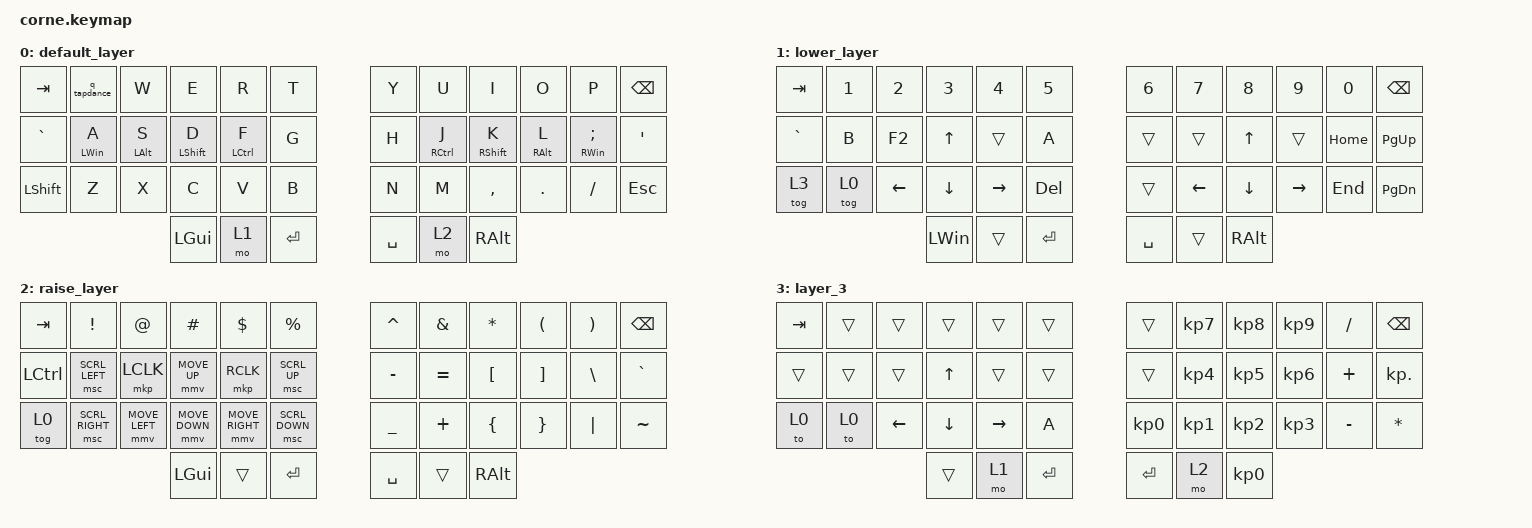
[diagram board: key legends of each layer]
/*
 * Copyright (c) 2020 The ZMK Contributors
 *
 * SPDX-License-Identifier: MIT
 */

#define ZMK_POINTING_DEFAULT_MOVE_VAL 1800
#define ZMK_POINTING_DEFAULT_SCRL_VAL 20

#include <behaviors.dtsi>
#include <dt-bindings/zmk/keys.h>
#include <dt-bindings/zmk/pointing.h>

/ {
    behaviors {
        hm: hm {
            compatible = "zmk,behavior-hold-tap";
            label = "HM";
            bindings = <&kp>, <&kp>;

            #binding-cells = <2>;
            tapping-term-ms = <400>;
            quick-tap-ms = <400>;
            require-prior-idle-ms = <400>;
            flavor = "tap-preferred";
        };

        q_tapdance: q_tapdance {
            compatible = "zmk,behavior-tap-dance";
            label = "Q_TAPDANCE";
            #binding-cells = <0>;
            bindings = <&kp Q>, <&kp DEL>;
        };

        numkey_toggle: numkey_toggle {
            compatible = "zmk,behavior-key-toggle";
            label = "NUMKEY_TOGGLE";
            #binding-cells = <1>;
            toggle-mode = "on";
        };
    };

    keymap {
        compatible = "zmk,keymap";

        default_layer {
            // -----------------------------------------------------------------------------------------
            // |  TAB |  Q  |  W  |  E  |  R  |  T  |   |  Y  |  U   |  I  |  O  |  P  | BKSP |
            // | CTRL |  A  |  S  |  D  |  F  |  G  |   |  H  |  J   |  K  |  L  |  ;  |  '   |
            // | SHFT |  Z  |  X  |  C  |  V  |  B  |   |  N  |  M   |  ,  |  .  |  /  | ESC  |
            //                    | GUI | LWR | SPC |   | ENT | RSE  | ALT |

            bindings = <
&kp TAB    &q_tapdance     &kp W           &kp E         &kp R               &kp T        &kp Y      &kp U                &kp I              &kp O            &kp P                    &kp BSPC
&kp GRAVE  &hm LEFT_WIN A  &hm LEFT_ALT S  &hm LSHIFT D  &hm LEFT_CONTROL F  &kp G        &kp H      &hm RIGHT_CONTROL J  &hm RIGHT_SHIFT K  &hm RIGHT_ALT L  &hm RIGHT_WIN SEMICOLON  &kp SQT
&kp LSHFT  &kp Z           &kp X           &kp C         &kp V               &kp B        &kp N      &kp M                &kp COMMA          &kp DOT          &kp FSLH                 &kp ESC
                                           &kp LGUI      &mo 1               &kp ENTER    &kp SPACE  &mo 2                &kp RALT
            >;
        };

        lower_layer {
            // -----------------------------------------------------------------------------------------
            // |  TAB |  1  |  2  |  3  |  4  |  5  |   |  6  |  7  |  8  |  9  |  0  | BKSP |
            // | BTCLR| BT1 | BT2 | BT3 | BT4 | BT5 |   | LFT | DWN |  UP | RGT |     |      |
            // | SHFT |     |     |     |     |     |   |     |     |     |     |     |      |
            //                    | GUI |     | SPC |   | ENT |     | ALT |

            bindings = <
&kp TAB    &kp N1  &kp N2    &kp N3        &kp N4     &kp N5       &kp N6     &kp N7    &kp N8    &kp N9     &kp N0    &kp BSPC
&kp GRAVE  &kp B   &kp F2    &kp UP        &trans     &kp A        &trans     &trans    &kp UP    &trans     &kp HOME  &kp PG_UP
&tog 3     &tog 0  &kp LEFT  &kp DOWN      &kp RIGHT  &kp DEL      &trans     &kp LEFT  &kp DOWN  &kp RIGHT  &kp END   &kp PG_DN
                             &kp LEFT_WIN  &trans     &kp ENTER    &kp SPACE  &trans    &kp RALT
            >;
        };

        raise_layer {
            // -----------------------------------------------------------------------------------------
            // |  TAB |  !  |  @  |  #  |  $  |  %  |   |  ^  |  &  |  *  |  (  |  )  | BKSP |
            // | CTRL |     |     |     |     |     |   |  -  |  =  |  [  |  ]  |  \  |  `   |
            // | SHFT |     |     |     |     |     |   |  _  |  +  |  {  |  }  | "|" |  ~   |
            //                    | GUI |     | SPC |   | ENT |     | ALT |

            bindings = <
&kp TAB    &kp EXCL         &kp AT          &kp HASH        &kp DLLR         &kp PRCNT         &kp CARET  &kp AMPS   &kp ASTRK  &kp LPAR  &kp RPAR  &kp BSPC
&kp LCTRL  &msc SCRL_LEFT   &mkp LCLK       &mmv MOVE_UP    &mkp RCLK        &msc SCRL_UP      &kp MINUS  &kp EQUAL  &kp LBKT   &kp RBKT  &kp BSLH  &kp GRAVE
&tog 0     &msc SCRL_RIGHT  &mmv MOVE_LEFT  &mmv MOVE_DOWN  &mmv MOVE_RIGHT  &msc SCRL_DOWN    &kp UNDER  &kp PLUS   &kp LBRC   &kp RBRC  &kp PIPE  &kp TILDE
                                            &kp LGUI        &trans           &kp ENTER         &kp SPACE  &trans     &kp RALT
            >;
        };

        layer_3 {
            bindings = <
&kp TAB  &trans  &trans    &trans    &trans     &trans       &trans     &kp KP_N7  &kp KP_N8  &kp KP_N9  &kp FSLH   &kp BSPC
&trans   &trans  &trans    &kp UP    &trans     &trans       &trans     &kp KP_N4  &kp KP_N5  &kp KP_N6  &kp PLUS   &kp KP_DOT
&to 0    &to 0   &kp LEFT  &kp DOWN  &kp RIGHT  &kp A        &kp KP_N0  &kp KP_N1  &kp KP_N2  &kp KP_N3  &kp MINUS  &kp ASTRK
                           &trans    &mo 1      &kp ENTER    &kp ENTER  &mo 2      &kp KP_N0
            >;
        };
    };
};
